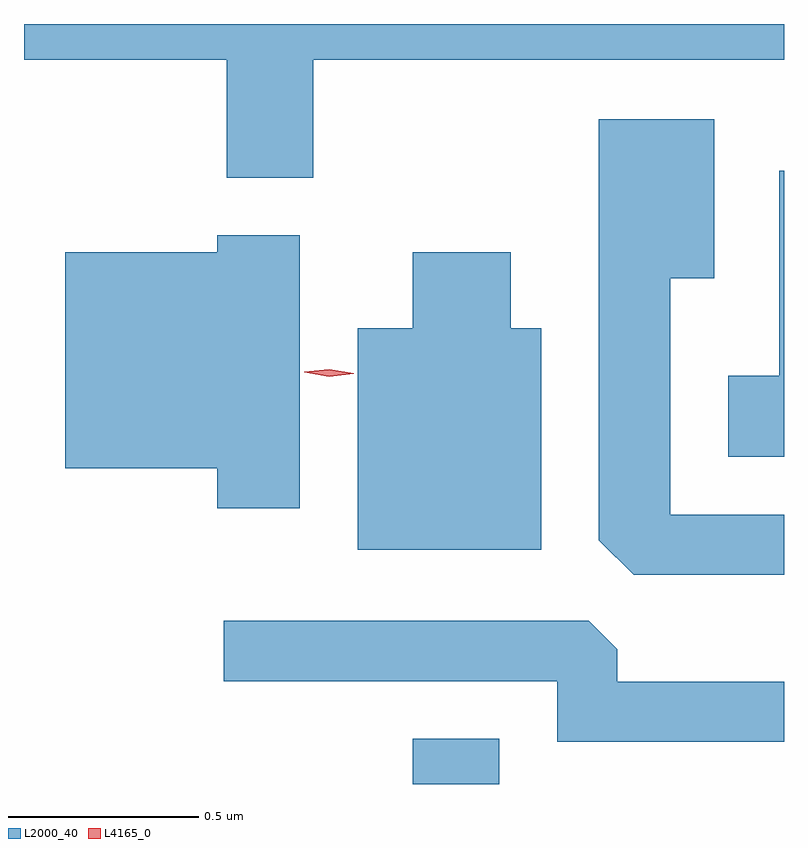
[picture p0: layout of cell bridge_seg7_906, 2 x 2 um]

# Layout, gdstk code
import gdstk
lib = gdstk.Library(unit=1e-6, precision=1e-09)
def R(c, l, rs):  # rectangles x0, y0, x1, y1
    for r in rs: c.add(gdstk.rectangle(r[:2], r[2:], *l))
def P(c, l, *ps):  # polygons
    for p in ps: c.add(gdstk.Polygon(p, *l))
L2000_40 = (2000, 40)
L4165_0 = (4165, 0)

bridge_seg7_906 = lib.new_cell('bridge_seg7_906')
R(bridge_seg7_906, L2000_40, [(201.381,1707.97,201.609,1708.089)])
P(bridge_seg7_906, L2000_40, [(201.119,1709.876),(202.358,1709.876),(202.358,1709.97),(200.358,1709.97),(200.358,1709.876),(200.891,1709.876),(200.891,1709.566),(201.119,1709.566)],
  [(202.358,1708.679),(202.059,1708.679),(202.059,1709.301),(202.174,1709.301),(202.174,1709.719),(201.871,1709.719),(201.871,1708.612),(201.962,1708.521),(202.358,1708.521)],
  [(202.358,1709.584),(202.346,1709.584),(202.346,1709.044),(202.211,1709.044),(202.211,1708.831),(202.358,1708.831)],
  [(201.084,1709.414),(200.866,1709.414),(200.866,1709.369),(200.466,1709.369),(200.466,1708.801),(200.866,1708.801),(200.866,1708.696),(201.084,1708.696)],
  [(201.719,1709.169),(201.639,1709.169),(201.639,1709.369),(201.381,1709.369),(201.381,1709.169),(201.236,1709.169),(201.236,1708.586),(201.719,1708.586)],
  [(202.358,1708.239),(201.919,1708.239),(201.919,1708.324),(201.844,1708.399),(200.883,1708.399),(200.883,1708.241),(201.761,1708.241),(201.761,1708.081),(202.358,1708.081)])
P(bridge_seg7_906, L4165_0, [(201.161,1709.042),(201.096,1709.054),(201.096,1709.054),(201.096,1709.055),(201.161,1709.062),(201.226,1709.051),(201.226,1709.05),(201.226,1709.05)])

lib.write_gds('bridge_seg7_906.gds')
